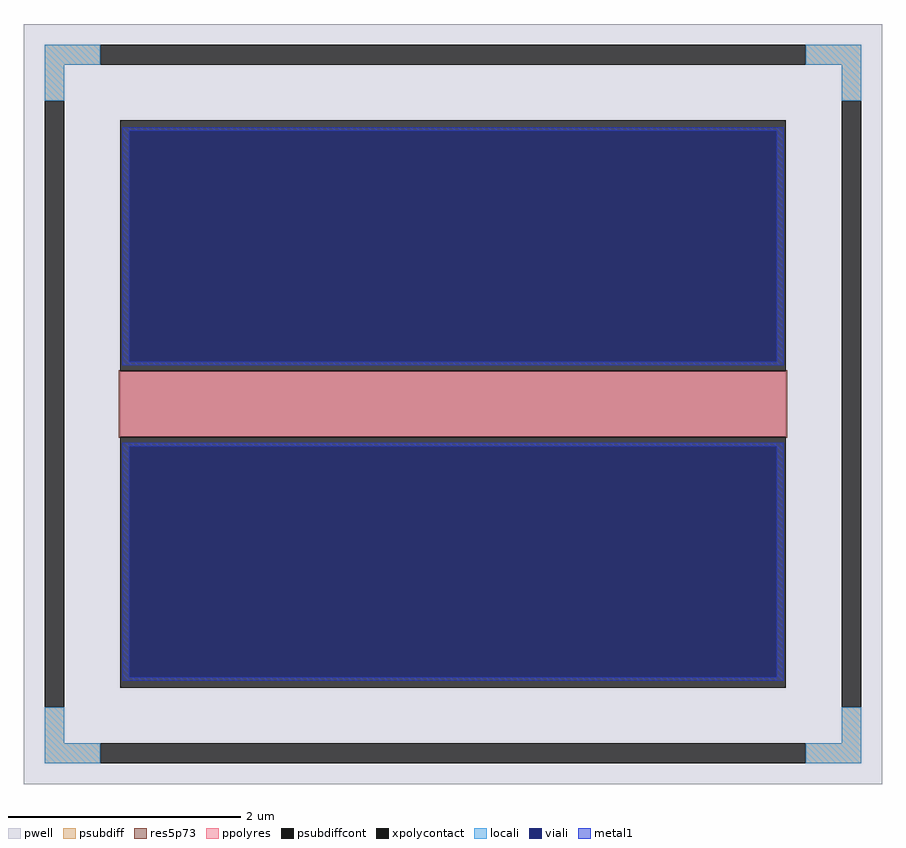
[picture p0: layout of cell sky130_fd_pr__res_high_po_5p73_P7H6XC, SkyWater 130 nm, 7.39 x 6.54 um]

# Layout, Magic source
magic
tech sky130A
magscale 1 2
<< pwell >>
rect -739 -654 739 654
<< psubdiff >>
rect -703 584 -607 618
rect 607 584 703 618
rect -703 522 -669 584
rect 669 522 703 584
rect -703 -584 -669 -522
rect 669 -584 703 -522
rect -703 -618 -607 -584
rect 607 -618 703 -584
<< psubdiffcont >>
rect -607 584 607 618
rect -703 -522 -669 522
rect 669 -522 703 522
rect -607 -618 607 -584
<< xpolycontact >>
rect -573 56 573 488
rect -573 -488 573 -56
<< ppolyres >>
rect -573 -56 573 56
<< locali >>
rect -703 584 -607 618
rect 607 584 703 618
rect -703 522 -669 584
rect 669 522 703 584
rect -703 -584 -669 -522
rect 669 -584 703 -522
rect -703 -618 -607 -584
rect 607 -618 703 -584
<< viali >>
rect -557 73 557 470
rect -557 -470 557 -73
<< metal1 >>
rect -569 470 569 476
rect -569 73 -557 470
rect 557 73 569 470
rect -569 67 569 73
rect -569 -73 569 -67
rect -569 -470 -557 -73
rect 557 -470 569 -73
rect -569 -476 569 -470
<< res5p73 >>
rect -575 -58 575 58
<< properties >>
string gencell sky130_fd_pr__res_high_po_5p73
string FIXED_BBOX -686 -601 686 601
string parameters w 5.730 l 0.56 m 1 nx 1 wmin 5.730 lmin 0.50 rho 319.8 val 37.951 dummy 0 dw 0.0 term 19.188 sterm 0.0 caplen 0 guard 1 glc 1 grc 1 gtc 1 gbc 1 compatible {sky130_fd_pr__res_high_po_0p35  sky130_fd_pr__res_high_po_0p69 sky130_fd_pr__res_high_po_1p41  sky130_fd_pr__res_high_po_2p85 sky130_fd_pr__res_high_po_5p73} full_metal 1 wmax 5.730 n_guard 0 hv_guard 0 vias 1 viagb 0 viagt 0 viagl 0 viagr 0
string library sky130
<< end >>
